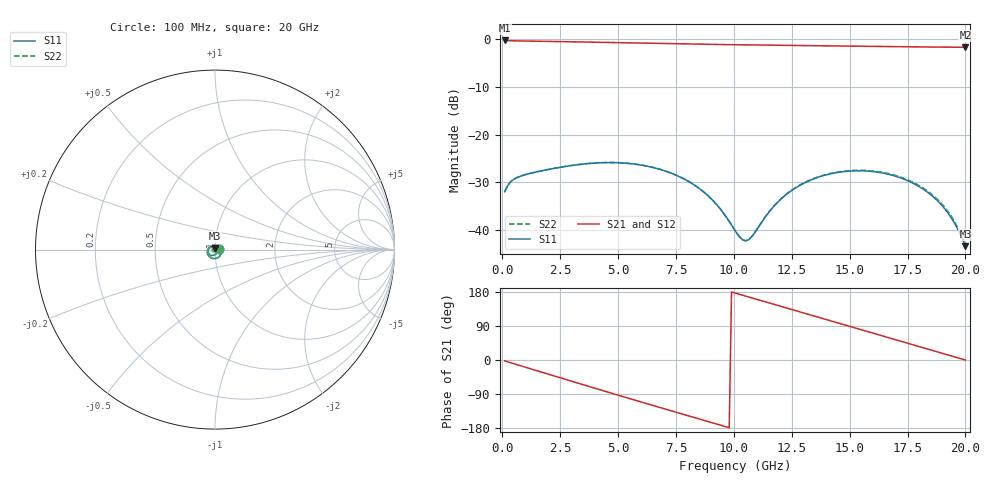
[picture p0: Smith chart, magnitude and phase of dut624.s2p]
! Touchstone file exported from HFSS 2026.1.0
!  File:  C:/ffzhzh/LocalFiles/Ansys_Project_Files/temp_train_TSV_RDL_624_1783125064_37876.aedt
!  Generated:  08:43:29 AM Jul  4, 2026
!  Design:  TSV_RDL
!  Project:  temp_train_TSV_RDL_624_1783125064_37876
! Variables:
!  h_bsmrdl = 5.7um
!  h_ox = 20um
!  h_rdl = 5um
!  h_sub = 97.94um
!  h_tmrdl = 4.31um
!  h_tsv = 97.94um
!  h_via = 3um
!  l_bsmrdl = 534.28um
!  l_sub = 5938.62um
!  l_tmrdl = 957.95um
!  m_sub = 200um
!  pitch = 23.14um
!  r_tsv = 8.97um
!  s_tmrdl = 10um
!  w_bsmrdl = 15.41um
!  w_sub = 500um
!  w_tmrdl = 19.25um
!  x_tsv_center1 = 967.575um
!  x_tsv_center2 = 1517.265um
!  x_tsv_center3 = 2494.465um
!  x_tsv_center4 = 3044.155um
!  x_tsv_center5 = 4021.355um
!  x_tsv_center6 = 4571.045um
# GHz S MA R 50.000000
! Terminal data exported
! Port[1] = TM_RDL1_1_T1
! Port[2] = TM_RDL5_1_T1
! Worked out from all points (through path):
!   200 points, 100 MHz to 20 GHz, reference 50 ohm
!   highest |S21| = -0.22 dB at 100 MHz (marker M1); lowest = -1.7 dB at 20 GHz (marker M2)
!   group delay of S21, straight-line fit = 49.8 ps
!   lowest |S11| = -43.4 dB at 20 GHz (marker M3), VSWR 1.01, Z = 50.1 + j0.668 ohm
!   |S11| at or under -10 dB: start of sweep to end of sweep
!   |S22| runs from -43.4 to -25.8 dB; largest |S21 - S12| = 2.4e-14
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0.1  0.02514 6.8  0.9752 -2.1  0.9752 -2.1  0.02514 6.8
! Gamma 0 0 0 0
! Port Impedance 50 0 50 0
0.5  0.034 -0.1  0.966 -9.8  0.966 -9.8  0.034 -0.1
1.7  0.04173 -34.9  0.9558 -32.1  0.9558 -32.1  0.04175 -34.9
2.6  0.04584 -59.2  0.948 -48.8  0.948 -48.8  0.04589 -59.2
3.5  0.04915 -83.1  0.9392 -65.4  0.9392 -65.4  0.04922 -83.1
4.3  0.05075 -104.0  0.9308 -80.0  0.9308 -80.0  0.05085 -103.9
5.1  0.05057 -124.4  0.9222 -94.6  0.9222 -94.6  0.05069 -124.4
6.8  0.04327 -167.1  0.9049 -125.2  0.9049 -125.2  0.04339 -167.0
7.8  0.03472 167.4  0.896 -143.1  0.896 -143.1  0.03483 167.5
8.7  0.02499 142.2  0.8889 -159.2  0.8889 -159.2  0.02506 142.4
9.4  0.01676 117.6  0.8839 -171.6  0.8839 -171.6  0.0168 117.7
10.1  0.009455 75.5  0.8792 175.9  0.8792 175.9  0.009471 75.6
10.4  0.007811 44.0  0.8773 170.6  0.8773 170.6  0.007833 44.0
10.6  0.007778 19.8  0.8761 167.0  0.8761 167.0  0.007816 19.7
12  0.02067 -68.5  0.8677 142.0  0.8677 142.0  0.02085 -68.2
13.4  0.03395 -106.3  0.8595 117.1  0.8595 117.1  0.03428 -105.9
15  0.04145 -142.1  0.8501 88.6  0.8501 88.6  0.04194 -141.4
16.7  0.03824 -178.0  0.8409 58.5  0.8409 58.5  0.03888 -176.8
17.9  0.02944 156.0  0.8349 37.2  0.8349 37.2  0.03013 158.0
18.8  0.02016 134.3  0.8308 21.2  0.8308 21.2  0.02082 137.7
19.5  0.01211 111.7  0.828 8.8  0.828 8.8  0.0126 118.0
20  0.006746 81.1  0.826 -0.1  0.826 -0.1  0.006772 93.6
